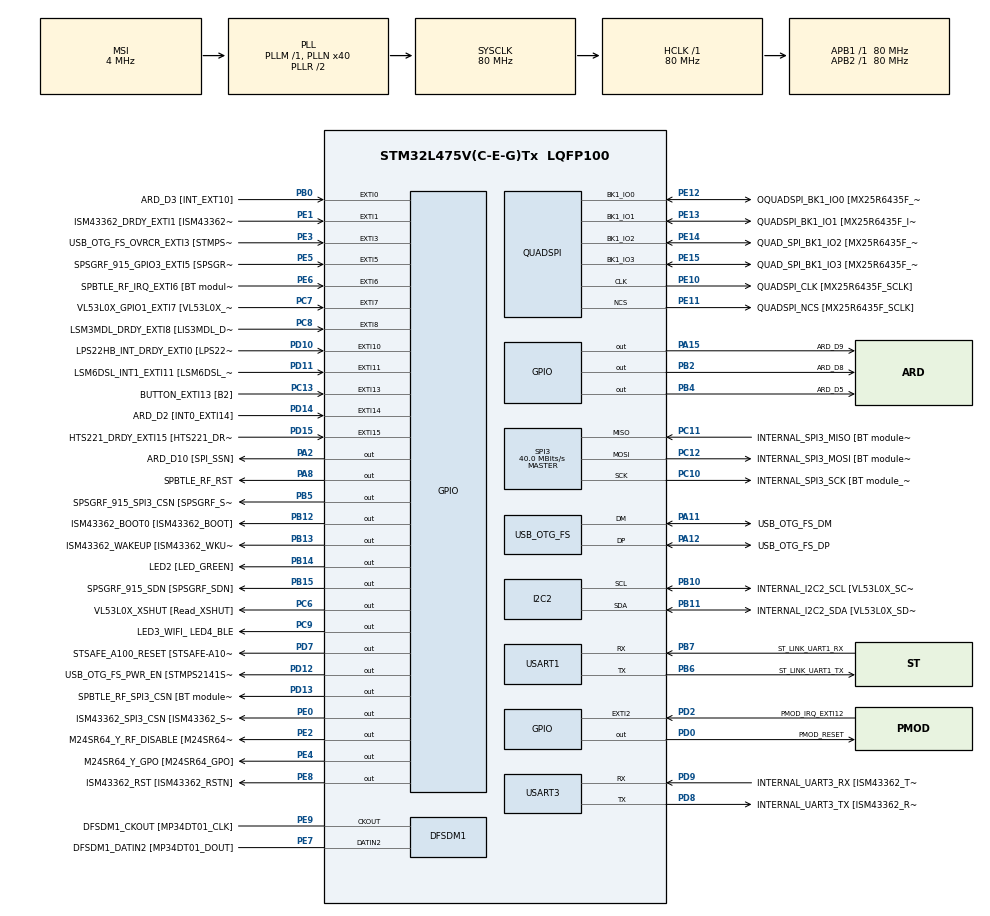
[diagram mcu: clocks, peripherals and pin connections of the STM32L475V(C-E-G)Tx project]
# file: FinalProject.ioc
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FREERTOS.Queues01=pingQueue,16,uint32_t,0,Dynamic,NULL,NULL;pongQueue,16,uint32_t,0,Dynamic,NULL,NULL
FREERTOS.Tasks01=defaultTask,0,128,StartDefaultTask,Default,NULL,Dynamic,NULL,NULL;pingTask,-3,128,PingTask,Default,NULL,Dynamic,NULL,NULL;pongTask,-3,128,PongTask,Default,NULL,Dynamic,NULL,NULL
FREERTOS.Timers01=myTimer02,Callback02,osTimerPeriodic,Default,NULL,Dynamic,NULL
FREERTOS.configUSE_NEWLIB_REENTRANT=1
FREERTOS.configUSE_TIMERS=1
Mcu.Family=STM32L4
Mcu.Name=STM32L475V(C-E-G)Tx
Mcu.Package=LQFP100
NVIC.EXTI15_10_IRQn=true\:5\:0\:false\:false\:true\:true\:true\:true\:true
NVIC.EXTI9_5_IRQn=true\:5\:0\:false\:false\:true\:true\:true\:true\:true
NVIC.PriorityGroup=NVIC_PRIORITYGROUP_4
NVIC.TIM1_UP_TIM16_IRQn=true\:15\:0\:false\:false\:true\:false\:false\:true\:true
NVIC.TimeBase=TIM1_UP_TIM16_IRQn
NVIC.TimeBaseIP=TIM1
PA0.GPIO_Label=ARD_D1 [UART4_TX]
PA0.Signal=UART4_TX
PA1.GPIO_Label=ARD_D0 [UART4_RX]
PA1.Signal=UART4_RX
PA10.GPIO_Label=USB_OTG_FS_ID
PA10.Signal=USB_OTG_FS_ID
PA11.GPIO_Label=USB_OTG_FS_DM
PA11.Mode=Device_Only
PA11.Signal=USB_OTG_FS_DM
PA12.GPIO_Label=USB_OTG_FS_DP
PA12.Mode=Device_Only
PA12.Signal=USB_OTG_FS_DP
PA13\ (JTMS-SWDIO).GPIO_Label=SYS_JTMS_SWDIO
PA13\ (JTMS-SWDIO).Mode=Serial_Wire
PA13\ (JTMS-SWDIO).Signal=SYS_JTMS-SWDIO
PA14\ (JTCK-SWCLK).GPIO_Label=SYS_JTCK_SWCLK
PA14\ (JTCK-SWCLK).Mode=Serial_Wire
PA14\ (JTCK-SWCLK).Signal=SYS_JTCK-SWCLK
PA15\ (JTDI).GPIO_Label=ARD_D9
PA15\ (JTDI).Signal=GPIO_Output
PA2.GPIO_Label=ARD_D10 [SPI_SSN]
PA2.Signal=GPIO_Output
PA3.GPIO_Label=ARD_D4
PA3.Signal=S_TIM2_CH4
PA4.GPIO_Label=ARD_D7
PA4.Signal=ADCx_IN9
PA5.GPIO_Label=ARD_D13 [SPI1_SCK]
PA5.Signal=SPI1_SCK
PA6.GPIO_Label=ARD_D12 [SPI1_MISO]
PA6.Signal=SPI1_MISO
PA7.GPIO_Label=ARD_D11 [SPI1_MOSI]
PA7.Signal=SPI1_MOSI
PA8.GPIO_Label=SPBTLE_RF_RST
PA8.Signal=GPIO_Output
PA9.GPIO_Label=USB_OTG_FS_VBUS [STMPS2141STR_OUT]
PA9.Signal=USB_OTG_FS_VBUS
PB0.GPIO_Label=ARD_D3 [INT_EXT10]
PB0.Signal=GPXTI0
PB1.GPIO_Label=ARD_D6 [ADC1_IN6]
PB1.Signal=ADCx_IN16
PB10.GPIO_Label=INTERNAL_I2C2_SCL [VL53L0X_SCL]
PB10.GPIO_Pu=GPIO_PULLUP
PB10.Mode=I2C
PB10.Signal=I2C2_SCL
PB11.GPIO_Label=INTERNAL_I2C2_SDA [VL53L0X_SDA]
PB11.GPIO_Pu=GPIO_PULLUP
PB11.Mode=I2C
PB11.Signal=I2C2_SDA
PB12.GPIO_Label=ISM43362_BOOT0 [ISM43362_BOOT]
PB12.Signal=GPIO_Output
PB13.GPIO_Label=ISM43362_WAKEUP [ISM43362_WKUP]
PB13.Signal=GPIO_Output
PB14.GPIO_Label=LED2 [LED_GREEN]
PB14.Signal=GPIO_Output
PB15.GPIO_Label=SPSGRF_915_SDN [SPSGRF_SDN]
PB15.Signal=GPIO_Output
PB2.GPIO_Label=ARD_D8
PB2.Signal=GPIO_Output
PB3\ (JTDO-TRACESWO).GPIO_Label=SYS_JTD0_SWO
PB3\ (JTDO-TRACESWO).Signal=SYS_JTDO-SWO
PB4\ (NJTRST).GPIO_Label=ARD_D5
PB4\ (NJTRST).Signal=GPIO_Output
PB5.GPIO_Label=SPSGRF_915_SPI3_CSN [SPSGRF_SPI_CS]
PB5.PinState=GPIO_PIN_SET
PB5.Signal=GPIO_Output
PB6.GPIO_Label=ST_LINK_UART1_TX
PB6.Mode=Asynchronous
PB6.Signal=USART1_TX
PB7.GPIO_Label=ST_LINK_UART1_RX
PB7.Mode=Asynchronous
PB7.Signal=USART1_RX
PB8.GPIO_Label=ARD_D15 [I2C1_SCL]
PB8.Signal=I2C1_SCL
PB9.GPIO_Label=ARD_D14 [I2C1_SDA]
PB9.Signal=I2C1_SDA
PC0.GPIO_Label=ARD_A5 [ADC]
PC0.Signal=ADCx_IN1
PC1.GPIO_Label=ARD_A4 [ADC]
PC1.Signal=ADCx_IN2
PC10.GPIO_Label=INTERNAL_SPI3_SCK [BT module_SPI_SCLK] [ISM43362_SCK]
PC10.Mode=Full_Duplex_Master
PC10.Signal=SPI3_SCK
PC11.GPIO_Label=INTERNAL_SPI3_MISO [BT module_SPI_MISO] [ISM43362_MISO]
PC11.Mode=Full_Duplex_Master
PC11.Signal=SPI3_MISO
PC12.GPIO_Label=INTERNAL_SPI3_MOSI [BT module_SPI_MOSI] [ISM43362_MOSI]
PC12.Mode=Full_Duplex_Master
PC12.Signal=SPI3_MOSI
PC13.GPIO_Label=BUTTON_EXTI13 [B2]
PC13.GPIO_ModeDefaultEXTI=GPIO_MODE_IT_FALLING
PC13.Signal=GPXTI13
PC14-OSC32_IN\ (PC14).Mode=LSE-External-Oscillator
PC14-OSC32_IN\ (PC14).Signal=RCC_OSC32_IN
PC15-OSC32_OUT\ (PC15).Mode=LSE-External-Oscillator
PC15-OSC32_OUT\ (PC15).Signal=RCC_OSC32_OUT
PC2.GPIO_Label=ARD_A3 [ADC]
PC2.Signal=ADCx_IN3
PC3.GPIO_Label=ARD_A2 [ADC]
PC3.Signal=ADCx_IN4
PC4.GPIO_Label=ARD_A1 [ADC]
PC4.Signal=ADCx_IN13
PC5.GPIO_Label=ARD_A0 [ADC]
PC5.Signal=ADCx_IN14
PC6.GPIO_Label=VL53L0X_XSHUT [Read_XSHUT]
PC6.Signal=GPIO_Output
PC7.GPIO_Label=VL53L0X_GPIO1_EXTI7 [VL53L0X_GPIO1]
PC7.Signal=GPXTI7
PC8.GPIO_Label=LSM3MDL_DRDY_EXTI8 [LIS3MDL_DRDY]
PC8.Signal=GPXTI8
PC9.GPIO_Label=LED3_WIFI_ LED4_BLE
PC9.Signal=GPIO_Output
PD0.GPIO_Label=PMOD_RESET
PD0.Signal=GPIO_Output
PD1.GPIO_Label=PMOD_SPI2_SCK
PD1.Signal=SPI2_SCK
PD10.GPIO_Label=LPS22HB_INT_DRDY_EXTI0 [LPS22HB_INT_DRDY] 
PD10.Signal=GPXTI10
PD11.GPIO_Label=LSM6DSL_INT1_EXTI11 [LSM6DSL_INT1]
PD11.Signal=GPXTI11
PD12.GPIO_Label=USB_OTG_FS_PWR_EN [STMPS2141STR_EN]
PD12.Signal=GPIO_Output
PD13.GPIO_Label=SPBTLE_RF_SPI3_CSN [BT module_SPI_CS]
PD13.PinState=GPIO_PIN_SET
PD13.Signal=GPIO_Output
PD14.GPIO_Label=ARD_D2 [INT0_EXTI14]
PD14.Signal=GPXTI14
PD15.GPIO_Label=HTS221_DRDY_EXTI15 [HTS221_DRDY]
PD15.Signal=GPXTI15
PD2.GPIO_Label=PMOD_IRQ_EXTI12
PD2.Signal=GPXTI2
PD3.GPIO_Label=PMOD_UART2_CTS
PD3.Signal=USART2_CTS
PD4.GPIO_Label=PMOD_UART2_RTS
PD4.Signal=USART2_RTS
PD5.GPIO_Label=PMOD_UART2_TX
PD5.Signal=USART2_TX
PD6.GPIO_Label=PMOD_UART2_RX
PD6.Signal=USART2_RX
PD7.GPIO_Label=STSAFE_A100_RESET [STSAFE-A100_RESET]
PD7.Signal=GPIO_Output
PD8.GPIO_Label=INTERNAL_UART3_TX [ISM43362_RX]
PD8.Mode=Asynchronous
PD8.Signal=USART3_TX
PD9.GPIO_Label=INTERNAL_UART3_RX [ISM43362_TX]
PD9.Mode=Asynchronous
PD9.Signal=USART3_RX
PE0.GPIO_Label=ISM43362_SPI3_CSN [ISM43362_SSN]
PE0.PinState=GPIO_PIN_SET
PE0.Signal=GPIO_Output
PE1.GPIO_Label=ISM43362_DRDY_EXTI1 [ISM43362_DATARDY]
PE1.Signal=GPXTI1
PE10.GPIO_Label=QUADSPI_CLK [MX25R6435F_SCLK]
PE10.Mode=Single Bank
PE10.Signal=QUADSPI_CLK
PE11.GPIO_Label=QUADSPI_NCS [MX25R6435F_SCLK]
PE11.Mode=Single Bank
PE11.Signal=QUADSPI_NCS
PE12.GPIO_Label=OQUADSPI_BK1_IO0 [MX25R6435F_IO0]
PE12.Mode=Single Bank
PE12.Signal=QUADSPI_BK1_IO0
PE13.GPIO_Label=QUADSPI_BK1_IO1 [MX25R6435F_IO1]
PE13.Mode=Single Bank
PE13.Signal=QUADSPI_BK1_IO1
PE14.GPIO_Label=QUAD_SPI_BK1_IO2 [MX25R6435F_IO2]
PE14.Mode=Single Bank
PE14.Signal=QUADSPI_BK1_IO2
PE15.GPIO_Label=QUAD_SPI_BK1_IO3 [MX25R6435F_IO3]
PE15.Mode=Single Bank
PE15.Signal=QUADSPI_BK1_IO3
PE2.GPIO_Label=M24SR64_Y_RF_DISABLE [M24SR64_RFDIS]
PE2.Signal=GPIO_Output
PE3.GPIO_Label=USB_OTG_FS_OVRCR_EXTI3 [STMPS2141STR_FAULT]
PE3.Signal=GPXTI3
PE4.GPIO_Label=M24SR64_Y_GPO [M24SR64_GPO]
PE4.Signal=GPIO_Output
PE5.GPIO_Label=SPSGRF_915_GPIO3_EXTI5 [SPSGRF_GPIO_3]
PE5.Signal=GPXTI5
PE6.GPIO_Label=SPBTLE_RF_IRQ_EXTI6 [BT module_SPI_IRQ]
PE6.Signal=GPXTI6
PE7.GPIO_Label=DFSDM1_DATIN2 [MP34DT01_DOUT]
PE7.Signal=S_DATAIN2DFSDM1
PE8.GPIO_Label=ISM43362_RST [ISM43362_RSTN]
PE8.Signal=GPIO_Output
PE9.GPIO_Label=DFSDM1_CKOUT [MP34DT01_CLK]
PE9.Signal=S_CKOUTDFSDM1
ProjectManager.HeapSize=0x200
ProjectManager.StackSize=0x400
ProjectManager.TargetToolchain=STM32CubeIDE
QUADSPI.ClockPrescaler=2
QUADSPI.FifoThreshold=4
QUADSPI.FlashSize=23
QUADSPI.SampleShifting=QSPI_SAMPLE_SHIFTING_HALFCYCLE
RCC.ADCFreq_Value=48000000
RCC.AHBFreq_Value=80000000
RCC.APB1Freq_Value=80000000
RCC.APB1TimFreq_Value=80000000
RCC.APB2Freq_Value=80000000
RCC.APB2TimFreq_Value=80000000
RCC.CortexFreq_Value=80000000
RCC.HCLKFreq_Value=80000000
RCC.HSE_VALUE=8000000
RCC.HSI_VALUE=16000000
RCC.MSI_VALUE=4000000
RCC.PLLN=40
RCC.PLLSAI1N=24
RCC.SYSCLKFreq_VALUE=80000000
RCC.SYSCLKSource=RCC_SYSCLKSOURCE_PLLCLK
RCC.USBFreq_Value=48000000
RCC.VCOOutputFreq_Value=160000000
SH.ADCx_IN1.0=ADC1_IN1
SH.ADCx_IN13.0=ADC1_IN13
SH.ADCx_IN14.0=ADC1_IN14
SH.ADCx_IN16.0=ADC1_IN16
SH.ADCx_IN2.0=ADC1_IN2
SH.ADCx_IN3.0=ADC1_IN3
SH.ADCx_IN4.0=ADC1_IN4
SH.ADCx_IN9.0=ADC1_IN9
SH.S_CKOUTDFSDM1.0=DFSDM1_CKOUT,CKOUT
SH.S_CKOUTDFSDM1.1=DFSDM1_CKOUT,PDM_SPI_Input_from_ch12_and_Internal_Clock
SH.S_DATAIN2DFSDM1.0=DFSDM1_DATIN2,PDM_SPI_Input_from_ch12_and_Internal_Clock
SH.S_TIM2_CH4.0=TIM2_CH4
SPI3.CalculateBaudRate=40.0 MBits/s
SPI3.Direction=SPI_DIRECTION_2LINES
SPI3.Mode=SPI_MODE_MASTER
SPI3.VirtualType=VM_MASTER
USART1.VirtualMode-Asynchronous=VM_ASYNC
USART3.VirtualMode-Asynchronous=VM_ASYNC
USB_OTG_FS.VirtualMode=Device_Only
VP_FREERTOS_VS_CMSIS_V1.Mode=CMSIS_V1
VP_SYS_VS_tim1.Mode=TIM1
board=B-L475E-IOT01A2

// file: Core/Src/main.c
/* USER CODE BEGIN Header */
/**
 ******************************************************************************
 * @file           : main.c
 * @brief          : Main program body
 ******************************************************************************
 * @attention
 *
 * Copyright (c) 2023 STMicroelectronics.
 * All rights reserved.
 *
 * This software is licensed under terms that can be found in the LICENSE file
 * in the root directory of this software component.
 * If no LICENSE file comes with this software, it is provided AS-IS.
 *
 ******************************************************************************
 */
/* USER CODE END Header */
#include "main.h"
#include "cmsis_os.h"

/* USER CODE BEGIN Includes */
#include <stdio.h>
#include <string.h>
/* USER CODE END Includes */

DFSDM_Channel_HandleTypeDef hdfsdm1_channel1;

I2C_HandleTypeDef hi2c2;

QSPI_HandleTypeDef hqspi;

SPI_HandleTypeDef hspi3;

UART_HandleTypeDef huart1;
UART_HandleTypeDef huart3;

PCD_HandleTypeDef hpcd_USB_OTG_FS;

osThreadId defaultTaskHandle;
osThreadId pingTaskHandle;
osThreadId pongTaskHandle;
osMessageQId pingQueueHandle;
osMessageQId pongQueueHandle;
osTimerId myTimer02Handle;
/* USER CODE BEGIN PV */
TimerHandle_t oneShotTimer;
/* USER CODE END PV */

void SystemClock_Config(void);
static void MX_GPIO_Init(void);
static void MX_DFSDM1_Init(void);
static void MX_I2C2_Init(void);
static void MX_QUADSPI_Init(void);
static void MX_SPI3_Init(void);
static void MX_USART1_UART_Init(void);
static void MX_USART3_UART_Init(void);
static void MX_USB_OTG_FS_PCD_Init(void);
void StartDefaultTask(void const * argument);
void PingTask(void const * argument);
void PongTask(void const * argument);
void Callback02(void const * argument);

/* USER CODE BEGIN 0 */
void vTimerOneShotCallback( TimerHandle_t xTimer );
/* USER CODE END 0 */

int main(void)
{

  /* MCU Configuration--------------------------------------------------------*/

  /* Reset of all peripherals, Initializes the Flash interface and the Systick. */
  HAL_Init();

  /* Configure the system clock */
  SystemClock_Config();

  /* Initialize all configured peripherals */
  MX_GPIO_Init();
  MX_DFSDM1_Init();
  MX_I2C2_Init();
  MX_QUADSPI_Init();
  MX_SPI3_Init();
  MX_USART1_UART_Init();
  MX_USART3_UART_Init();
  MX_USB_OTG_FS_PCD_Init();
  /* USER CODE BEGIN 2 */
  HAL_GPIO_TogglePin(GPIOA, GPIO_PIN_2);
  /* USER CODE END 2 */

  /* Create the timer(s) */
  /* definition and creation of myTimer02 */
  osTimerDef(myTimer02, Callback02);
  myTimer02Handle = osTimerCreate(osTimer(myTimer02), osTimerPeriodic, NULL);

  /* USER CODE BEGIN RTOS_TIMERS */
  /* start timers, add new ones, ... */
  oneShotTimer = xTimerCreate("One shot timer", pdMS_TO_TICKS(2000), pdFALSE, NULL, vTimerOneShotCallback);
  osTimerStart(myTimer02Handle, 2000);
  /* USER CODE END RTOS_TIMERS */

  /* Create the queue(s) */
  /* definition and creation of pingQueue */
  osMessageQDef(pingQueue, 16, uint32_t);
  pingQueueHandle = osMessageCreate(osMessageQ(pingQueue), NULL);

  /* definition and creation of pongQueue */
  osMessageQDef(pongQueue, 16, uint32_t);
  pongQueueHandle = osMessageCreate(osMessageQ(pongQueue), NULL);

  /* Create the thread(s) */
  /* definition and creation of defaultTask */
  osThreadDef(defaultTask, StartDefaultTask, osPriorityNormal, 0, 128);
  defaultTaskHandle = osThreadCreate(osThread(defaultTask), NULL);

  /* definition and creation of pingTask */
  osThreadDef(pingTask, PingTask, osPriorityIdle, 0, 128);
  pingTaskHandle = osThreadCreate(osThread(pingTask), NULL);

  /* definition and creation of pongTask */
  osThreadDef(pongTask, PongTask, osPriorityIdle, 0, 128);
  pongTaskHandle = osThreadCreate(osThread(pongTask), NULL);

  /* Start scheduler */
  osKernelStart();
  /* We should never get here as control is now taken by the scheduler */
  /* Infinite loop */
	while (1) {

	}
}

void SystemClock_Config(void)
{
  RCC_OscInitTypeDef RCC_OscInitStruct = {0};
  RCC_ClkInitTypeDef RCC_ClkInitStruct = {0};

  /** Configure the main internal regulator output voltage
  */
  if (HAL_PWREx_ControlVoltageScaling(PWR_REGULATOR_VOLTAGE_SCALE1) != HAL_OK)
  {
    Error_Handler();
  }

  /** Configure LSE Drive Capability
  */
  HAL_PWR_EnableBkUpAccess();
  __HAL_RCC_LSEDRIVE_CONFIG(RCC_LSEDRIVE_LOW);

  /** Initializes the RCC Oscillators according to the specified parameters
  * in the RCC_OscInitTypeDef structure.
  */
  RCC_OscInitStruct.OscillatorType = RCC_OSCILLATORTYPE_LSE|RCC_OSCILLATORTYPE_MSI;
  RCC_OscInitStruct.LSEState = RCC_LSE_ON;
  RCC_OscInitStruct.MSIState = RCC_MSI_ON;
  RCC_OscInitStruct.MSICalibrationValue = 0;
  RCC_OscInitStruct.MSIClockRange = RCC_MSIRANGE_6;
  RCC_OscInitStruct.PLL.PLLState = RCC_PLL_ON;
  RCC_OscInitStruct.PLL.PLLSource = RCC_PLLSOURCE_MSI;
  RCC_OscInitStruct.PLL.PLLM = 1;
  RCC_OscInitStruct.PLL.PLLN = 40;
  RCC_OscInitStruct.PLL.PLLP = RCC_PLLP_DIV7;
  RCC_OscInitStruct.PLL.PLLQ = RCC_PLLQ_DIV2;
  RCC_OscInitStruct.PLL.PLLR = RCC_PLLR_DIV2;
  if (HAL_RCC_OscConfig(&RCC_OscInitStruct) != HAL_OK)
  {
    Error_Handler();
  }

  /** Initializes the CPU, AHB and APB buses clocks
  */
  RCC_ClkInitStruct.ClockType = RCC_CLOCKTYPE_HCLK|RCC_CLOCKTYPE_SYSCLK
                              |RCC_CLOCKTYPE_PCLK1|RCC_CLOCKTYPE_PCLK2;
  RCC_ClkInitStruct.SYSCLKSource = RCC_SYSCLKSOURCE_PLLCLK;
  RCC_ClkInitStruct.AHBCLKDivider = RCC_SYSCLK_DIV1;
  RCC_ClkInitStruct.APB1CLKDivider = RCC_HCLK_DIV1;
  RCC_ClkInitStruct.APB2CLKDivider = RCC_HCLK_DIV1;

  if (HAL_RCC_ClockConfig(&RCC_ClkInitStruct, FLASH_LATENCY_4) != HAL_OK)
  {
    Error_Handler();
  }

  /** Enable MSI Auto calibration
  */
  HAL_RCCEx_EnableMSIPLLMode();
}

static void MX_DFSDM1_Init(void)
{

  hdfsdm1_channel1.Instance = DFSDM1_Channel1;
  hdfsdm1_channel1.Init.OutputClock.Activation = ENABLE;
  hdfsdm1_channel1.Init.OutputClock.Selection = DFSDM_CHANNEL_OUTPUT_CLOCK_SYSTEM;
  hdfsdm1_channel1.Init.OutputClock.Divider = 2;
  hdfsdm1_channel1.Init.Input.Multiplexer = DFSDM_CHANNEL_EXTERNAL_INPUTS;
  hdfsdm1_channel1.Init.Input.DataPacking = DFSDM_CHANNEL_STANDARD_MODE;
  hdfsdm1_channel1.Init.Input.Pins = DFSDM_CHANNEL_FOLLOWING_CHANNEL_PINS;
  hdfsdm1_channel1.Init.SerialInterface.Type = DFSDM_CHANNEL_SPI_RISING;
  hdfsdm1_channel1.Init.SerialInterface.SpiClock = DFSDM_CHANNEL_SPI_CLOCK_INTERNAL;
  hdfsdm1_channel1.Init.Awd.FilterOrder = DFSDM_CHANNEL_FASTSINC_ORDER;
  hdfsdm1_channel1.Init.Awd.Oversampling = 1;
  hdfsdm1_channel1.Init.Offset = 0;
  hdfsdm1_channel1.Init.RightBitShift = 0x00;
  if (HAL_DFSDM_ChannelInit(&hdfsdm1_channel1) != HAL_OK)
  {
    Error_Handler();
  }

}

static void MX_I2C2_Init(void)
{

  hi2c2.Instance = I2C2;
  hi2c2.Init.Timing = 0x00000E14;
  hi2c2.Init.OwnAddress1 = 0;
  hi2c2.Init.AddressingMode = I2C_ADDRESSINGMODE_7BIT;
  hi2c2.Init.DualAddressMode = I2C_DUALADDRESS_DISABLE;
  hi2c2.Init.OwnAddress2 = 0;
  hi2c2.Init.OwnAddress2Masks = I2C_OA2_NOMASK;
  hi2c2.Init.GeneralCallMode = I2C_GENERALCALL_DISABLE;
  hi2c2.Init.NoStretchMode = I2C_NOSTRETCH_DISABLE;
  if (HAL_I2C_Init(&hi2c2) != HAL_OK)
  {
    Error_Handler();
  }

  /** Configure Analogue filter
  */
  if (HAL_I2CEx_ConfigAnalogFilter(&hi2c2, I2C_ANALOGFILTER_ENABLE) != HAL_OK)
  {
    Error_Handler();
  }

  /** Configure Digital filter
  */
  if (HAL_I2CEx_ConfigDigitalFilter(&hi2c2, 0) != HAL_OK)
  {
    Error_Handler();
  }

}

static void MX_QUADSPI_Init(void)
{

  /* QUADSPI parameter configuration*/
  hqspi.Instance = QUADSPI;
  hqspi.Init.ClockPrescaler = 2;
  hqspi.Init.FifoThreshold = 4;
  hqspi.Init.SampleShifting = QSPI_SAMPLE_SHIFTING_HALFCYCLE;
  hqspi.Init.FlashSize = 23;
  hqspi.Init.ChipSelectHighTime = QSPI_CS_HIGH_TIME_1_CYCLE;
  hqspi.Init.ClockMode = QSPI_CLOCK_MODE_0;
  if (HAL_QSPI_Init(&hqspi) != HAL_OK)
  {
    Error_Handler();
  }

}

static void MX_SPI3_Init(void)
{

  /* SPI3 parameter configuration*/
  hspi3.Instance = SPI3;
  hspi3.Init.Mode = SPI_MODE_MASTER;
  hspi3.Init.Direction = SPI_DIRECTION_2LINES;
  hspi3.Init.DataSize = SPI_DATASIZE_4BIT;
  hspi3.Init.CLKPolarity = SPI_POLARITY_LOW;
  hspi3.Init.CLKPhase = SPI_PHASE_1EDGE;
  hspi3.Init.NSS = SPI_NSS_SOFT;
  hspi3.Init.BaudRatePrescaler = SPI_BAUDRATEPRESCALER_2;
  hspi3.Init.FirstBit = SPI_FIRSTBIT_MSB;
  hspi3.Init.TIMode = SPI_TIMODE_DISABLE;
  hspi3.Init.CRCCalculation = SPI_CRCCALCULATION_DISABLE;
  hspi3.Init.CRCPolynomial = 7;
  hspi3.Init.CRCLength = SPI_CRC_LENGTH_DATASIZE;
  hspi3.Init.NSSPMode = SPI_NSS_PULSE_ENABLE;
  if (HAL_SPI_Init(&hspi3) != HAL_OK)
  {
    Error_Handler();
  }

}

static void MX_USART1_UART_Init(void)
{

  huart1.Instance = USART1;
  huart1.Init.BaudRate = 115200;
  huart1.Init.WordLength = UART_WORDLENGTH_8B;
  huart1.Init.StopBits = UART_STOPBITS_1;
  huart1.Init.Parity = UART_PARITY_NONE;
  huart1.Init.Mode = UART_MODE_TX_RX;
  huart1.Init.HwFlowCtl = UART_HWCONTROL_NONE;
  huart1.Init.OverSampling = UART_OVERSAMPLING_16;
  huart1.Init.OneBitSampling = UART_ONE_BIT_SAMPLE_DISABLE;
  huart1.AdvancedInit.AdvFeatureInit = UART_ADVFEATURE_NO_INIT;
  if (HAL_UART_Init(&huart1) != HAL_OK)
  {
    Error_Handler();
  }

}

static void MX_USART3_UART_Init(void)
{

  huart3.Instance = USART3;
  huart3.Init.BaudRate = 115200;
  huart3.Init.WordLength = UART_WORDLENGTH_8B;
  huart3.Init.StopBits = UART_STOPBITS_1;
  huart3.Init.Parity = UART_PARITY_NONE;
  huart3.Init.Mode = UART_MODE_TX_RX;
  huart3.Init.HwFlowCtl = UART_HWCONTROL_NONE;
  huart3.Init.OverSampling = UART_OVERSAMPLING_16;
  huart3.Init.OneBitSampling = UART_ONE_BIT_SAMPLE_DISABLE;
  huart3.AdvancedInit.AdvFeatureInit = UART_ADVFEATURE_NO_INIT;
  if (HAL_UART_Init(&huart3) != HAL_OK)
  {
    Error_Handler();
  }

}

static void MX_USB_OTG_FS_PCD_Init(void)
{

  hpcd_USB_OTG_FS.Instance = USB_OTG_FS;
  hpcd_USB_OTG_FS.Init.dev_endpoints = 6;
  hpcd_USB_OTG_FS.Init.speed = PCD_SPEED_FULL;
  hpcd_USB_OTG_FS.Init.phy_itface = PCD_PHY_EMBEDDED;
  hpcd_USB_OTG_FS.Init.Sof_enable = DISABLE;
  hpcd_USB_OTG_FS.Init.low_power_enable = DISABLE;
  hpcd_USB_OTG_FS.Init.lpm_enable = DISABLE;
  hpcd_USB_OTG_FS.Init.battery_charging_enable = DISABLE;
  hpcd_USB_OTG_FS.Init.use_dedicated_ep1 = DISABLE;
  hpcd_USB_OTG_FS.Init.vbus_sensing_enable = DISABLE;
  if (HAL_PCD_Init(&hpcd_USB_OTG_FS) != HAL_OK)
  {
    Error_Handler();
  }

}

static void MX_GPIO_Init(void)
{
  GPIO_InitTypeDef GPIO_InitStruct = {0};

  /* GPIO Ports Clock Enable */
  __HAL_RCC_GPIOE_CLK_ENABLE();
  __HAL_RCC_GPIOC_CLK_ENABLE();
  __HAL_RCC_GPIOA_CLK_ENABLE();
  __HAL_RCC_GPIOB_CLK_ENABLE();
  __HAL_RCC_GPIOD_CLK_ENABLE();

  /*Configure GPIO pin Output Level */
  HAL_GPIO_WritePin(GPIOE, M24SR64_Y_RF_DISABLE_Pin|M24SR64_Y_GPO_Pin|ISM43362_RST_Pin, GPIO_PIN_RESET);

  /*Configure GPIO pin Output Level */
  HAL_GPIO_WritePin(GPIOA, ARD_D10_Pin|SPBTLE_RF_RST_Pin|ARD_D9_Pin, GPIO_PIN_RESET);

  /*Configure GPIO pin Output Level */
  HAL_GPIO_WritePin(GPIOB, ARD_D8_Pin|ISM43362_BOOT0_Pin|ISM43362_WAKEUP_Pin|LED2_Pin
                          |SPSGRF_915_SDN_Pin|ARD_D5_Pin, GPIO_PIN_RESET);

  /*Configure GPIO pin Output Level */
  HAL_GPIO_WritePin(GPIOD, USB_OTG_FS_PWR_EN_Pin|PMOD_RESET_Pin|STSAFE_A100_RESET_Pin, GPIO_PIN_RESET);

  /*Configure GPIO pin Output Level */
  HAL_GPIO_WritePin(SPBTLE_RF_SPI3_CSN_GPIO_Port, SPBTLE_RF_SPI3_CSN_Pin, GPIO_PIN_SET);

  /*Configure GPIO pin Output Level */
  HAL_GPIO_WritePin(GPIOC, VL53L0X_XSHUT_Pin|LED3_WIFI__LED4_BLE_Pin, GPIO_PIN_RESET);

  /*Configure GPIO pin Output Level */
  HAL_GPIO_WritePin(SPSGRF_915_SPI3_CSN_GPIO_Port, SPSGRF_915_SPI3_CSN_Pin, GPIO_PIN_SET);

  /*Configure GPIO pin Output Level */
  HAL_GPIO_WritePin(ISM43362_SPI3_CSN_GPIO_Port, ISM43362_SPI3_CSN_Pin, GPIO_PIN_SET);

  /*Configure GPIO pins : M24SR64_Y_RF_DISABLE_Pin M24SR64_Y_GPO_Pin ISM43362_RST_Pin ISM43362_SPI3_CSN_Pin */
  GPIO_InitStruct.Pin = M24SR64_Y_RF_DISABLE_Pin|M24SR64_Y_GPO_Pin|ISM43362_RST_Pin|ISM43362_SPI3_CSN_Pin;
  GPIO_InitStruct.Mode = GPIO_MODE_OUTPUT_PP;
  GPIO_InitStruct.Pull = GPIO_NOPULL;
  GPIO_InitStruct.Speed = GPIO_SPEED_FREQ_LOW;
  HAL_GPIO_Init(GPIOE, &GPIO_InitStruct);

  /*Configure GPIO pins : USB_OTG_FS_OVRCR_EXTI3_Pin SPSGRF_915_GPIO3_EXTI5_Pin SPBTLE_RF_IRQ_EXTI6_Pin ISM43362_DRDY_EXTI1_Pin */
  GPIO_InitStruct.Pin = USB_OTG_FS_OVRCR_EXTI3_Pin|SPSGRF_915_GPIO3_EXTI5_Pin|SPBTLE_RF_IRQ_EXTI6_Pin|ISM43362_DRDY_EXTI1_Pin;
  GPIO_InitStruct.Mode = GPIO_MODE_IT_RISING;
  GPIO_InitStruct.Pull = GPIO_NOPULL;
  HAL_GPIO_Init(GPIOE, &GPIO_InitStruct);

  /*Configure GPIO pin : BUTTON_EXTI13_Pin */
  GPIO_InitStruct.Pin = BUTTON_EXTI13_Pin;
  GPIO_InitStruct.Mode = GPIO_MODE_IT_FALLING;
  GPIO_InitStruct.Pull = GPIO_NOPULL;
  HAL_GPIO_Init(BUTTON_EXTI13_GPIO_Port, &GPIO_InitStruct);

  /*Configure GPIO pins : ARD_A5_Pin ARD_A4_Pin ARD_A3_Pin ARD_A2_Pin
                           ARD_A1_Pin ARD_A0_Pin */
  GPIO_InitStruct.Pin = ARD_A5_Pin|ARD_A4_Pin|ARD_A3_Pin|ARD_A2_Pin
                          |ARD_A1_Pin|ARD_A0_Pin;
  GPIO_InitStruct.Mode = GPIO_MODE_ANALOG_ADC_CONTROL;
  GPIO_InitStruct.Pull = GPIO_NOPULL;
  HAL_GPIO_Init(GPIOC, &GPIO_InitStruct);

  /*Configure GPIO pins : ARD_D1_Pin ARD_D0_Pin */
  GPIO_InitStruct.Pin = ARD_D1_Pin|ARD_D0_Pin;
  GPIO_InitStruct.Mode = GPIO_MODE_AF_PP;
  GPIO_InitStruct.Pull = GPIO_NOPULL;
  GPIO_InitStruct.Speed = GPIO_SPEED_FREQ_VERY_HIGH;
  GPIO_InitStruct.Alternate = GPIO_AF8_UART4;
  HAL_GPIO_Init(GPIOA, &GPIO_InitStruct);

  /*Configure GPIO pins : ARD_D10_Pin SPBTLE_RF_RST_Pin ARD_D9_Pin */
  GPIO_InitStruct.Pin = ARD_D10_Pin|SPBTLE_RF_RST_Pin|ARD_D9_Pin;
  GPIO_InitStruct.Mode = GPIO_MODE_OUTPUT_PP;
  GPIO_InitStruct.Pull = GPIO_NOPULL;
  GPIO_InitStruct.Speed = GPIO_SPEED_FREQ_LOW;
  HAL_GPIO_Init(GPIOA, &GPIO_InitStruct);

  /*Configure GPIO pin : ARD_D4_Pin */
  GPIO_InitStruct.Pin = ARD_D4_Pin;
  GPIO_InitStruct.Mode = GPIO_MODE_AF_PP;
  GPIO_InitStruct.Pull = GPIO_NOPULL;
  GPIO_InitStruct.Speed = GPIO_SPEED_FREQ_LOW;
  GPIO_InitStruct.Alternate = GPIO_AF1_TIM2;
  HAL_GPIO_Init(ARD_D4_GPIO_Port, &GPIO_InitStruct);

  /*Configure GPIO pin : ARD_D7_Pin */
  GPIO_InitStruct.Pin = ARD_D7_Pin;
  GPIO_InitStruct.Mode = GPIO_MODE_ANALOG_ADC_CONTROL;
  GPIO_InitStruct.Pull = GPIO_NOPULL;
  HAL_GPIO_Init(ARD_D7_GPIO_Port, &GPIO_InitStruct);

  /*Configure GPIO pins : ARD_D13_Pin ARD_D12_Pin ARD_D11_Pin */
  GPIO_InitStruct.Pin = ARD_D13_Pin|ARD_D12_Pin|ARD_D11_Pin;
  GPIO_InitStruct.Mode = GPIO_MODE_AF_PP;
  GPIO_InitStruct.Pull = GPIO_NOPULL;
  GPIO_InitStruct.Speed = GPIO_SPEED_FREQ_VERY_HIGH;
  GPIO_InitStruct.Alternate = GPIO_AF5_SPI1;
  HAL_GPIO_Init(GPIOA, &GPIO_InitStruct);

  /*Configure GPIO pin : ARD_D3_Pin */
  GPIO_InitStruct.Pin = ARD_D3_Pin;
  GPIO_InitStruct.Mode = GPIO_MODE_IT_RISING;
  GPIO_InitStruct.Pull = GPIO_NOPULL;
  HAL_GPIO_Init(ARD_D3_GPIO_Port, &GPIO_InitStruct);

  /*Configure GPIO pin : ARD_D6_Pin */
  GPIO_InitStruct.Pin = ARD_D6_Pin;
  GPIO_InitStruct.Mode = GPIO_MODE_ANALOG_ADC_CONTROL;
  GPIO_InitStruct.Pull = GPIO_NOPULL;
  HAL_GPIO_Init(ARD_D6_GPIO_Port, &GPIO_InitStruct);

  /*Configure GPIO pins : ARD_D8_Pin ISM43362_BOOT0_Pin ISM43362_WAKEUP_Pin LED2_Pin
                           SPSGRF_915_SDN_Pin ARD_D5_Pin SPSGRF_915_SPI3_CSN_Pin */
  GPIO_InitStruct.Pin = ARD_D8_Pin|ISM43362_BOOT0_Pin|ISM43362_WAKEUP_Pin|LED2_Pin
                          |SPSGRF_915_SDN_Pin|ARD_D5_Pin|SPSGRF_915_SPI3_CSN_Pin;
  GPIO_InitStruct.Mode = GPIO_MODE_OUTPUT_PP;
  GPIO_InitStruct.Pull = GPIO_NOPULL;
  GPIO_InitStruct.Speed = GPIO_SPEED_FREQ_LOW;
  HAL_GPIO_Init(GPIOB, &GPIO_InitStruct);

  /*Configure GPIO pins : LPS22HB_INT_DRDY_EXTI0_Pin LSM6DSL_INT1_EXTI11_Pin ARD_D2_Pin HTS221_DRDY_EXTI15_Pin
                           PMOD_IRQ_EXTI12_Pin */
  GPIO_InitStruct.Pin = LPS22HB_INT_DRDY_EXTI0_Pin|LSM6DSL_INT1_EXTI11_Pin|ARD_D2_Pin|HTS221_DRDY_EXTI15_Pin
                          |PMOD_IRQ_EXTI12_Pin;
  GPIO_InitStruct.Mode = GPIO_MODE_IT_RISING;
  GPIO_InitStruct.Pull = GPIO_NOPULL;
  HAL_GPIO_Init(GPIOD, &GPIO_InitStruct);

  /*Configure GPIO pins : USB_OTG_FS_PWR_EN_Pin SPBTLE_RF_SPI3_CSN_Pin PMOD_RESET_Pin STSAFE_A100_RESET_Pin */
  GPIO_InitStruct.Pin = USB_OTG_FS_PWR_EN_Pin|SPBTLE_RF_SPI3_CSN_Pin|PMOD_RESET_Pin|STSAFE_A100_RESET_Pin;
  GPIO_InitStruct.Mode = GPIO_MODE_OUTPUT_PP;
  GPIO_InitStruct.Pull = GPIO_NOPULL;
  GPIO_InitStruct.Speed = GPIO_SPEED_FREQ_LOW;
  HAL_GPIO_Init(GPIOD, &GPIO_InitStruct);

  /*Configure GPIO pins : VL53L0X_XSHUT_Pin LED3_WIFI__LED4_BLE_Pin */
  GPIO_InitStruct.Pin = VL53L0X_XSHUT_Pin|LED3_WIFI__LED4_BLE_Pin;
  GPIO_InitStruct.Mode = GPIO_MODE_OUTPUT_PP;
  GPIO_InitStruct.Pull = GPIO_NOPULL;
  GPIO_InitStruct.Speed = GPIO_SPEED_FREQ_LOW;
  HAL_GPIO_Init(GPIOC, &GPIO_InitStruct);

  /*Configure GPIO pins : VL53L0X_GPIO1_EXTI7_Pin LSM3MDL_DRDY_EXTI8_Pin */
  GPIO_InitStruct.Pin = VL53L0X_GPIO1_EXTI7_Pin|LSM3MDL_DRDY_EXTI8_Pin;
  GPIO_InitStruct.Mode = GPIO_MODE_IT_RISING;
  GPIO_InitStruct.Pull = GPIO_NOPULL;
  HAL_GPIO_Init(GPIOC, &GPIO_InitStruct);

  /*Configure GPIO pin : PMOD_SPI2_SCK_Pin */
  GPIO_InitStruct.Pin = PMOD_SPI2_SCK_Pin;
  GPIO_InitStruct.Mode = GPIO_MODE_AF_PP;
  GPIO_InitStruct.Pull = GPIO_NOPULL;
  GPIO_InitStruct.Speed = GPIO_SPEED_FREQ_VERY_HIGH;
  GPIO_InitStruct.Alternate = GPIO_AF5_SPI2;
  HAL_GPIO_Init(PMOD_SPI2_SCK_GPIO_Port, &GPIO_InitStruct);

  /*Configure GPIO pins : PMOD_UART2_CTS_Pin PMOD_UART2_RTS_Pin PMOD_UART2_TX_Pin PMOD_UART2_RX_Pin */
  GPIO_InitStruct.Pin = PMOD_UART2_CTS_Pin|PMOD_UART2_RTS_Pin|PMOD_UART2_TX_Pin|PMOD_UART2_RX_Pin;
  GPIO_InitStruct.Mode = GPIO_MODE_AF_PP;
  GPIO_InitStruct.Pull = GPIO_NOPULL;
  GPIO_InitStruct.Speed = GPIO_SPEED_FREQ_VERY_HIGH;
  GPIO_InitStruct.Alternate = GPIO_AF7_USART2;
  HAL_GPIO_Init(GPIOD, &GPIO_InitStruct);

  /*Configure GPIO pins : ARD_D15_Pin ARD_D14_Pin */
  GPIO_InitStruct.Pin = ARD_D15_Pin|ARD_D14_Pin;
  GPIO_InitStruct.Mode = GPIO_MODE_AF_OD;
  GPIO_InitStruct.Pull = GPIO_NOPULL;
  GPIO_InitStruct.Speed = GPIO_SPEED_FREQ_VERY_HIGH;
  GPIO_InitStruct.Alternate = GPIO_AF4_I2C1;
  HAL_GPIO_Init(GPIOB, &GPIO_InitStruct);

  /* EXTI interrupt init*/
  HAL_NVIC_SetPriority(EXTI9_5_IRQn, 5, 0);
  HAL_NVIC_EnableIRQ(EXTI9_5_IRQn);

  HAL_NVIC_SetPriority(EXTI15_10_IRQn, 5, 0);
  HAL_NVIC_EnableIRQ(EXTI15_10_IRQn);

}

/* USER CODE BEGIN 4 */
void HAL_GPIO_EXTI_Callback(uint16_t GPIO_Pin)
{
	if(GPIO_Pin == BUTTON_EXTI13_Pin)
	{
		BaseType_t xHigherPriorityTaskWoken = pdFALSE;
		if(xTimerStartFromISR(oneShotTimer, &xHigherPriorityTaskWoken) != pdPASS)
		{
			char buf[100];
			snprintf(buf, sizeof(buf), "oneShotTimer start failed\r\n");
			HAL_UART_Transmit(&huart1, (uint8_t*) buf, strlen(buf), 1000);
		}

	    if( xHigherPriorityTaskWoken != pdFALSE )
	    {
	    	portYIELD_FROM_ISR(xHigherPriorityTaskWoken);
	    }
	}
}

void vTimerOneShotCallback( TimerHandle_t xTimer )
{
	static int countOneShot = 1;
	char buf[100];
	snprintf(buf, sizeof(buf), "oneShotTimer triggered: %d\r\n", countOneShot);
	HAL_UART_Transmit(&huart1, (uint8_t*) buf, strlen(buf), 1000);
	// ARD_D8
	HAL_GPIO_TogglePin(GPIOB, GPIO_PIN_2);
	countOneShot++;
}
/* USER CODE END 4 */

void StartDefaultTask(void const * argument)
{
  /* USER CODE BEGIN 5 */
	/* Infinite loop */
	for (;;) {
		HAL_GPIO_TogglePin(LED2_GPIO_Port, LED2_Pin);
		osDelay(2000);
	}
  /* USER CODE END 5 */
}

void PingTask(void const * argument)
{
  /* USER CODE BEGIN PingTask */
  static int pingcmd = 0;
  osEvent pingEvt;
  char buf[100];
  /* Infinite loop */
  for(;;)
  {
	  osMessagePut(pingQueueHandle, pingcmd, osWaitForever);
	  pingcmd++;
	  pingEvt = osMessageGet(pongQueueHandle, osWaitForever);
	  if(pingEvt.status == osEventMessage){
		  snprintf(buf, sizeof(buf), "pong command count: %d\r\n", (int)(pingEvt.value.p));
		  HAL_UART_Transmit(&huart1, (uint8_t*)buf, strlen(buf), 1000);
		  // ARD_D10
		  HAL_GPIO_TogglePin(GPIOA, GPIO_PIN_15);
	  }
	  osDelay(2000);
  }
  /* USER CODE END PingTask */
}

void PongTask(void const * argument)
{
  /* USER CODE BEGIN PongTask */
  static int pongcmd = 0;
  osEvent pongEvt;
  char buf[100];
  /* Infinite loop */
  for(;;)
  {
	  pongEvt = osMessageGet(pingQueueHandle, osWaitForever);
	  if(pongEvt.status == osEventMessage){
		  snprintf(buf, sizeof(buf), "ping command count: %d\r\n", (int)(pongEvt.value.p));
		  HAL_UART_Transmit(&huart1, (uint8_t*)buf, strlen(buf), 1000);
		  // ARD_D9
		  HAL_GPIO_TogglePin(GPIOA, GPIO_PIN_2);
		  osMessagePut(pongQueueHandle, pongcmd, osWaitForever);
		  pongcmd++;
	  }
	  osDelay(2000);
  }
  /* USER CODE END PongTask */
}

/* Callback02 function */
void Callback02(void const * argument)
{
  /* USER CODE BEGIN Callback02 */
	static int countAutoReload = 1;
	char buf[100];
	snprintf(buf, sizeof(buf), "autoReloadTimer triggered: %d\r\n", countAutoReload);
	HAL_UART_Transmit(&huart1, (uint8_t*) buf, strlen(buf), 1000);
	// ARD_D5
	HAL_GPIO_TogglePin(GPIOB, GPIO_PIN_4);
	countAutoReload++;
  /* USER CODE END Callback02 */
}

void HAL_TIM_PeriodElapsedCallback(TIM_HandleTypeDef *htim)
{
  if (htim->Instance == TIM1) {
    HAL_IncTick();
  }
}

void Error_Handler(void)
{
	__disable_irq();
	while (1) {
	}
}
